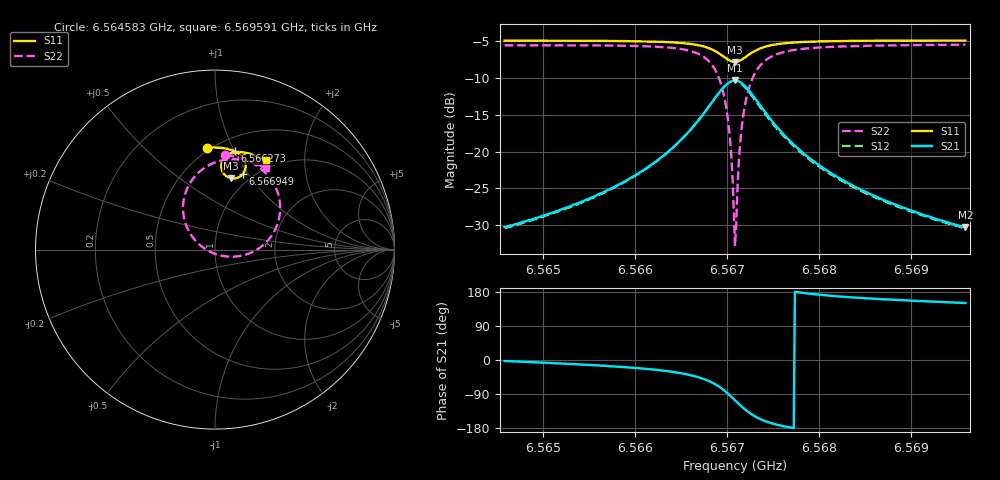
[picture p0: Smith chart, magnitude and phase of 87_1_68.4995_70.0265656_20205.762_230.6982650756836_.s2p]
#  HZ  S  RI  R  50.00
! Rohde & Schwarz Vector Network Analyzer
! Rohde-Schwarz,ZNB20-2Port,1311601062101988,3.16
! Created: UTC 3/20/2024, 4:52:23 PM
! freq[Hz]  re:S11  im:S11  re:S21  im:S21  re:S12  im:S12  re:S22  im:S22
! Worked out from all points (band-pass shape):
!   401 points, 6.564583 GHz to 6.569591 GHz, reference 50 ohm
!   highest |S21| = -10.32 dB at 6.567087 GHz (marker M1); lowest = -30.3 dB at 6.569591 GHz (marker M2)
!   |S21| within 3 dB of the highest: 6.566836 GHz to 6.567337 GHz (501.8 kHz wide, 0.00764 % of centre)
!   lowest |S11| = -7.8 dB at 6.567087 GHz (marker M3), VSWR 2.38, Z = 42.1 + j40.2 ohm
!   |S11| at or under -10 dB: nowhere
!   |S22| runs from -32.9 to -5.4 dB; largest |S21 - S12| = 0.015
!   S11 on the Smith chart (normalised r, x): 6.564583 GHz: 0.48, +0.80; 6.566273 GHz: 0.63, +1.00; 6.566949 GHz: 0.90, +0.95; 6.569591 GHz: 0.88, +1.30
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6.5645826e9  -0.0444 0.5675  0.0306 -0.0015  0.0299 -0.00193  0.0583 0.5259
6.5654216e9  0.0256 0.5675  0.0446 -0.00936  0.0438 -0.01  0.1418 0.5095
6.5662605e9  0.1075 0.549  0.0792 -0.0399  0.078 -0.0409  0.2627 0.4451
6.566273e9  0.1087 0.5483  0.0801 -0.0411  0.079 -0.042  0.265 0.4429
6.5665485e9  0.1426 0.5267  0.1028 -0.0778  0.1012 -0.0794  0.3257 0.3705
6.5667489e9  0.1665 0.4914  0.1163 -0.1398  0.1135 -0.1431  0.3627 0.2503
6.5668616e9  0.1704 0.4563  0.1044 -0.2017  0.099 -0.2058  0.3445 0.1323
6.5669492e9  0.1562 0.4222  0.0624 -0.2601  0.0531 -0.2635  0.2667 0.0237
6.5669868e9  0.1425 0.4091  0.0307 -0.2815  0.019 -0.2835  0.2072 -0.0143
6.5670243e9  0.1241 0.3995  -0.00942 -0.2957  -0.0228 -0.2949  0.1329 -0.0367
6.5670744e9  0.0949 0.3966  -0.0703 -0.2961  -0.0841 -0.2907  0.0233 -0.0309
6.5670869e9  0.0875 0.3979  -0.0857 -0.2925  -0.099 -0.2857  -0.00329 -0.0224
6.5670995e9  0.0804 0.3999  -0.1004 -0.2874  -0.1133 -0.2793  -0.029 -0.0112
6.567112e9  0.0734 0.4028  -0.1144 -0.2806  -0.1266 -0.2717  -0.0528 0.00248
6.567137e9  0.0609 0.4106  -0.1401 -0.2639  -0.1507 -0.2529  -0.0954 0.036
6.5671746e9  0.0466 0.4263  -0.1699 -0.232  -0.1772 -0.2194  -0.1424 0.0963
6.5672247e9  0.0365 0.4498  -0.1922 -0.1852  -0.1955 -0.1724  -0.1735 0.1817
6.5672873e9  0.0361 0.4774  -0.1982 -0.132  -0.1976 -0.1206  -0.1745 0.2754
6.5675127e9  0.0739 0.5295  -0.1518 -0.0297  -0.1483 -0.025  -0.0705 0.4469
6.5679259e9  0.137 0.5436  -0.0868 0.00903  -0.0846 0.0105  0.0729 0.5023
6.5687649e9  0.2188 0.5256  -0.0422 0.0158  -0.0413 0.0161  0.205 0.487
6.5695913e9  0.2815 0.4968  -0.0264 0.015  -0.0258 0.0152  0.282 0.4539
